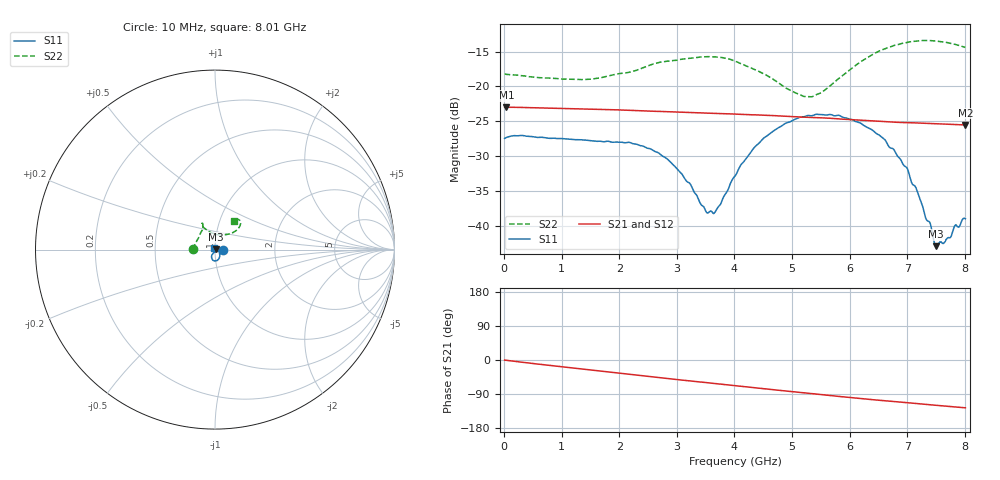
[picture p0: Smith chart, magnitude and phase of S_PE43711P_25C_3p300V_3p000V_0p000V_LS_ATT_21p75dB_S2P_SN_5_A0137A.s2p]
! Device ID: PE43711P
! File Path: z:\PE43711P\CHAR_NOM_04282014\AMB\3p300\LS_ATT_21p75dB\PE43711P_AMB_3p300V_3p000V_0p000V_LS_ATT_21p75dB_S2P_SN_5_A0137A.s2p
! Serial: 5
! Lot: A0137A
! Temp: 25C
! VDD: 3.300
! VSS: 0.000
! Control_Hi: 3.000
! Control_Lo: 0.000
! Attenuation Step: 21.75dB
! Port 1: RF1
! Port 2: RF2
! ThroughPath:1-2
! IDD: 0.0001274962
! ISS: -7.22e-008
#  Hz  S  RI  R  50
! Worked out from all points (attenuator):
!   801 points, 10 MHz to 8.01 GHz, reference 50 ohm
!   highest |S21| = -22.97 dB at 40 MHz (marker M1); lowest = -25.5 dB at 8.01 GHz (marker M2)
!   lowest |S11| = -42.9 dB at 7.5 GHz (marker M3), VSWR 1.01, Z = 50.6 + j0.43 ohm
!   |S11| at or under -10 dB: start of sweep to end of sweep
!   |S22| runs from -21.5 to -13.4 dB; largest |S21 - S12| = 0.00017
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1e7  0.0425 0.000317  0.0711 -0.00032  0.0711 -0.000323  -0.1229 0.000966
4e7  0.0431 0.000343  0.0711 -0.000959  0.0711 -0.000962  -0.1221 0.00261
1.35e9  0.0402 -0.01  0.0632 -0.0281  0.0633 -0.0281  -0.0961 0.0575
2.18e9  0.0384 -0.0106  0.0531 -0.0417  0.0531 -0.0417  -0.0733 0.1033
2.68e9  0.0325 -0.00806  0.0459 -0.0479  0.0459 -0.0479  -0.0682 0.1318
3.07e9  0.0229 -0.00728  0.0397 -0.0521  0.0397 -0.0521  -0.0678 0.1411
3.54e9  0.00621 -0.0108  0.0321 -0.0558  0.0321 -0.0558  -0.0717 0.1471
3.68e9  0.001 -0.0129  0.0298 -0.0567  0.0298 -0.0567  -0.073 0.1455
4.01e9  -0.01 -0.0205  0.0241 -0.0587  0.0241 -0.0588  -0.0724 0.1337
4.32e9  -0.0175 -0.0309  0.0187 -0.0598  0.0187 -0.0599  -0.06 0.1199
4.52e9  -0.019 -0.0387  0.0152 -0.0604  0.0152 -0.0604  -0.0493 0.1123
4.89e9  -0.0169 -0.052  0.00881 -0.0605  0.00876 -0.0606  -0.0232 0.0949
5.35e9  -0.00582 -0.0615  0.00128 -0.06  0.00128 -0.0601  0.022 0.0817
6.05e9  0.0188 -0.0547  -0.00967 -0.0571  -0.00973 -0.057  0.0985 0.0941
6.4e9  0.0259 -0.041  -0.0144 -0.0549  -0.0144 -0.0549  0.1264 0.113
6.68e9  0.0262 -0.0264  -0.0176 -0.0529  -0.0176 -0.053  0.1384 0.1318
7e9  0.0227 -0.0126  -0.0212 -0.0509  -0.0211 -0.0509  0.1431 0.1495
7.18e9  0.0168 -0.00483  -0.0232 -0.0496  -0.0232 -0.0496  0.1407 0.1587
7.5e9  0.0058 0.00425  -0.0266 -0.047  -0.0267 -0.0471  0.1282 0.1682
7.65e9  0.000359 0.00767  -0.0281 -0.0459  -0.0281 -0.0458  0.121 0.1693
7.83e9  -0.00479 0.00889  -0.0298 -0.0444  -0.0298 -0.0443  0.1113 0.1666
8.01e9  -0.00797 0.00802  -0.0313 -0.0429  -0.0314 -0.0428  0.104 0.1593
